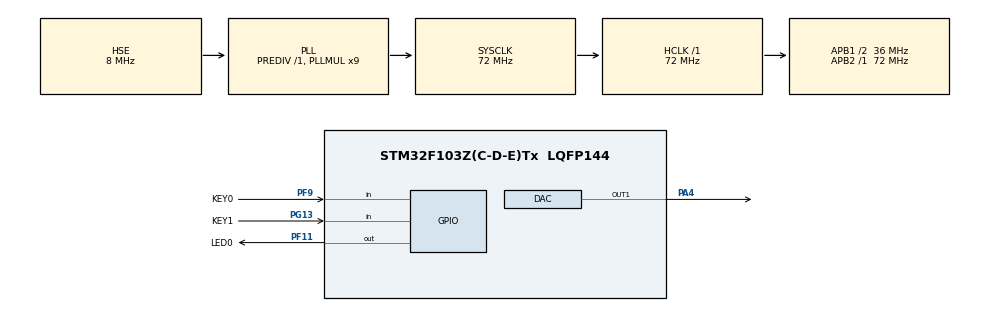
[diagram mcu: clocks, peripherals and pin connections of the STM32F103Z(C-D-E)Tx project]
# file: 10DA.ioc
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DAC.DAC_Trigger=DAC_TRIGGER_T6_TRGO
DAC.WaveGeneration=DISABLE
Dma.DAC_CH1.0.Direction=DMA_MEMORY_TO_PERIPH
Dma.DAC_CH1.0.Instance=DMA2_Channel3
Dma.DAC_CH1.0.MemDataAlignment=DMA_MDATAALIGN_BYTE
Dma.DAC_CH1.0.MemInc=DMA_MINC_ENABLE
Dma.DAC_CH1.0.Mode=DMA_CIRCULAR
Dma.DAC_CH1.0.PeriphDataAlignment=DMA_PDATAALIGN_BYTE
Dma.DAC_CH1.0.PeriphInc=DMA_PINC_DISABLE
Dma.DAC_CH1.0.Priority=DMA_PRIORITY_LOW
Dma.Request0=DAC_CH1
Mcu.Family=STM32F1
Mcu.Name=STM32F103Z(C-D-E)Tx
Mcu.Package=LQFP144
NVIC.DMA2_Channel3_IRQn=true\:0\:0\:false\:false\:true\:false\:true
NVIC.PriorityGroup=NVIC_PRIORITYGROUP_4
OSC_IN.Mode=HSE-External-Oscillator
OSC_IN.Signal=RCC_OSC_IN
OSC_OUT.Mode=HSE-External-Oscillator
OSC_OUT.Signal=RCC_OSC_OUT
PA13.Mode=Serial_Wire
PA13.Signal=SYS_JTMS-SWDIO
PA14.Mode=Serial_Wire
PA14.Signal=SYS_JTCK-SWCLK
PA4.Signal=COMP_DAC1_group
PC14-OSC32_IN.Mode=LSE-External-Oscillator
PC14-OSC32_IN.Signal=RCC_OSC32_IN
PC15-OSC32_OUT.Mode=LSE-External-Oscillator
PC15-OSC32_OUT.Signal=RCC_OSC32_OUT
PF11.GPIO_Label=LED0
PF11.Signal=GPIO_Output
PF9.GPIO_Label=KEY0
PF9.GPIO_PuPd=GPIO_PULLUP
PF9.Signal=GPIO_Input
PG13.GPIO_Label=KEY1
PG13.GPIO_PuPd=GPIO_PULLUP
PG13.Signal=GPIO_Input
ProjectManager.HeapSize=0x200
ProjectManager.StackSize=0x400
ProjectManager.TargetToolchain=MDK-ARM V5.27
RCC.AHBFreq_Value=72000000
RCC.APB1CLKDivider=RCC_HCLK_DIV2
RCC.APB1Freq_Value=36000000
RCC.APB1TimFreq_Value=72000000
RCC.APB2Freq_Value=72000000
RCC.APB2TimFreq_Value=72000000
RCC.HCLKFreq_Value=72000000
RCC.PLLMUL=RCC_PLL_MUL9
RCC.PLLSourceVirtual=RCC_PLLSOURCE_HSE
RCC.SYSCLKFreq_VALUE=72000000
RCC.SYSCLKSource=RCC_SYSCLKSOURCE_PLLCLK
RCC.USBFreq_Value=72000000
SH.COMP_DAC1_group.0=DAC_OUT1,DAC_OUT1
TIM6.Period=100-1
TIM6.TIM_MasterOutputTrigger=TIM_TRGO_UPDATE
VP_TIM6_VS_ClockSourceINT.Mode=Enable_Timer
board=custom

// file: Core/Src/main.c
/* USER CODE BEGIN Header */
/**
  ******************************************************************************
  * @file           : main.c
  * @brief          : Main program body
  ******************************************************************************
  * @attention
  *
  * <h2><center>&copy; Copyright (c) 2021 STMicroelectronics.
  * All rights reserved.</center></h2>
  *
  * This software component is licensed by ST under BSD 3-Clause license,
  * the "License"; You may not use this file except in compliance with the
  * License. You may obtain a copy of the License at:
  *                        opensource.org/licenses/BSD-3-Clause
  *
  ******************************************************************************
  */
/* USER CODE END Header */
#include "main.h"
#include "dac.h"
#include "dma.h"
#include "tim.h"
#include "gpio.h"

/* USER CODE BEGIN PTD */
const uint8_t sine_8bit[256] = {0x80,0x84,0x87,0x8A,0x8D,0x90,0x93,0x96,0x99,0x9D,0xA0,
	0xA3,0xA6,0xA9,0xAC,0xAF,0xB1,0xB4,0xB7,0xBA,0xBD,0xC0,0xC2,0xC5,0xC8,0xCA,0xCD,0xCF,
	0xD2,0xD4,0xD6,0xD9,0xDB,0xDD,0xDF,0xE1,0xE3,0xE5,0xE7,0xE9,0xEB,0xED,0xEE,0xF0,0xF1
	,0xF3,0xF4,0xF6,0xF7,0xF8,0xF9,0xFA,0xFB,0xFC,0xFD,0xFD,0xFE,0xFF,0xFF,0xFF,0xFF,0xFF,
	0xFF,0xFF,0xFF,0xFF,0xFF,0xFF,0xFF,0xFF,0xFF,0xFF,0xFE,0xFD,0xFD,0xFC,0xFB,0xFA,0xF9,
	0xF8,0xF7,0xF6,0xF4,0xF3,0xF1,0xF0,0xEE,0xED,0xEB,0xE9,0xE7,0xE5,0xE3,0xE1,0xDF,0xDD,
	0xDB,0xD9,0xD6,0xD4,0xD2,0xCF,0xCD,0xCA,0xC8,0xC5,0xC2,0xC0,0xBD,0xBA,0xB7,0xB4,0xB1,
	0xAF,0xAC,0xA9,0xA6,0xA3,0xA0,0x9D,0x99,0x96,0x93,0x90,0x8D,0x8A,0x87,0x84,0x81,0x7D,
	0x7A,0x77,0x74,0x71,0x6E,0x6B,0x68,0x64,0x61,0x5E,0x5B,0x58,0x55,0x52,0x50,0x4D,0x4A,
	0x47,0x44,0x41,0x3F,0x3C,0x39,0x37,0x34,0x32,0x2F,0x2D,0x2B,0x28,0x26,0x24,0x22,0x20,
	0x1E,0x1C,0x1A,0x18,0x16,0x14,0x13,0x11,0x10,0x0E,0x0D,0x0B,0x0A,0x09,0x08,0x07,0x06,
	0x05,0x04,0x04,0x03,0x02,0x02,0x01,0x01,0x01,0x01,0x01,0x01,0x01,0x01,0x01,0x01,0x01,
	0x02,0x02,0x03,0x04,0x04,0x05,0x06,0x07,0x08,0x09,0x0A,0x0B,0x0D,0x0E,0x10,0x11,0x13,
	0x14,0x16,0x18,0x1A,0x1C,0x1E,0x20,0x22,0x24,0x26,0x28,0x2B,0x2D,0x2F,0x32,0x34,0x37,
	0x39,0x3C,0x3F,0x41,0x44,0x47,0x4A,0x4D,0x50,0x52,0x55,0x58,0x5B,0x5E,0x61,0x64,0x68,
	0x6B,0x6E,0x71,0x74,0x77,0x7A,0x7D};

/* USER CODE END PTD */

void SystemClock_Config(void);

int main(void)
{

  /* MCU Configuration--------------------------------------------------------*/

  /* Reset of all peripherals, Initializes the Flash interface and the Systick. */
  HAL_Init();

  /* Configure the system clock */
  SystemClock_Config();

  /* Initialize all configured peripherals */
  MX_GPIO_Init();
  MX_DMA_Init();
  MX_DAC_Init();
  MX_TIM6_Init();
  /* USER CODE BEGIN 2 */
	HAL_TIM_Base_Start(&htim6);

	//HAL_DAC_SetValue(&hdac,DAC_CHANNEL_1,DAC_ALIGN_12B_R,0x100);
	//HAL_DAC_Start(&hdac,DAC_CHANNEL_1);
	HAL_DAC_Start_DMA(&hdac, DAC_CHANNEL_1, (uint32_t*)sine_8bit, 256, DAC_ALIGN_8B_R);
  /* USER CODE END 2 */

  /* Infinite loop */
  while (1)
  {

  }
}

void SystemClock_Config(void)
{
  RCC_OscInitTypeDef RCC_OscInitStruct = {0};
  RCC_ClkInitTypeDef RCC_ClkInitStruct = {0};

  /** Initializes the RCC Oscillators according to the specified parameters
  * in the RCC_OscInitTypeDef structure.
  */
  RCC_OscInitStruct.OscillatorType = RCC_OSCILLATORTYPE_HSE;
  RCC_OscInitStruct.HSEState = RCC_HSE_ON;
  RCC_OscInitStruct.HSEPredivValue = RCC_HSE_PREDIV_DIV1;
  RCC_OscInitStruct.HSIState = RCC_HSI_ON;
  RCC_OscInitStruct.PLL.PLLState = RCC_PLL_ON;
  RCC_OscInitStruct.PLL.PLLSource = RCC_PLLSOURCE_HSE;
  RCC_OscInitStruct.PLL.PLLMUL = RCC_PLL_MUL9;
  if (HAL_RCC_OscConfig(&RCC_OscInitStruct) != HAL_OK)
  {
    Error_Handler();
  }
  /** Initializes the CPU, AHB and APB buses clocks
  */
  RCC_ClkInitStruct.ClockType = RCC_CLOCKTYPE_HCLK|RCC_CLOCKTYPE_SYSCLK
                              |RCC_CLOCKTYPE_PCLK1|RCC_CLOCKTYPE_PCLK2;
  RCC_ClkInitStruct.SYSCLKSource = RCC_SYSCLKSOURCE_PLLCLK;
  RCC_ClkInitStruct.AHBCLKDivider = RCC_SYSCLK_DIV1;
  RCC_ClkInitStruct.APB1CLKDivider = RCC_HCLK_DIV2;
  RCC_ClkInitStruct.APB2CLKDivider = RCC_HCLK_DIV1;

  if (HAL_RCC_ClockConfig(&RCC_ClkInitStruct, FLASH_LATENCY_2) != HAL_OK)
  {
    Error_Handler();
  }
}

void Error_Handler(void)
{
  __disable_irq();
  while (1)
  {
  }
}

/************************ (C) COPYRIGHT STMicroelectronics *****END OF FILE****/
